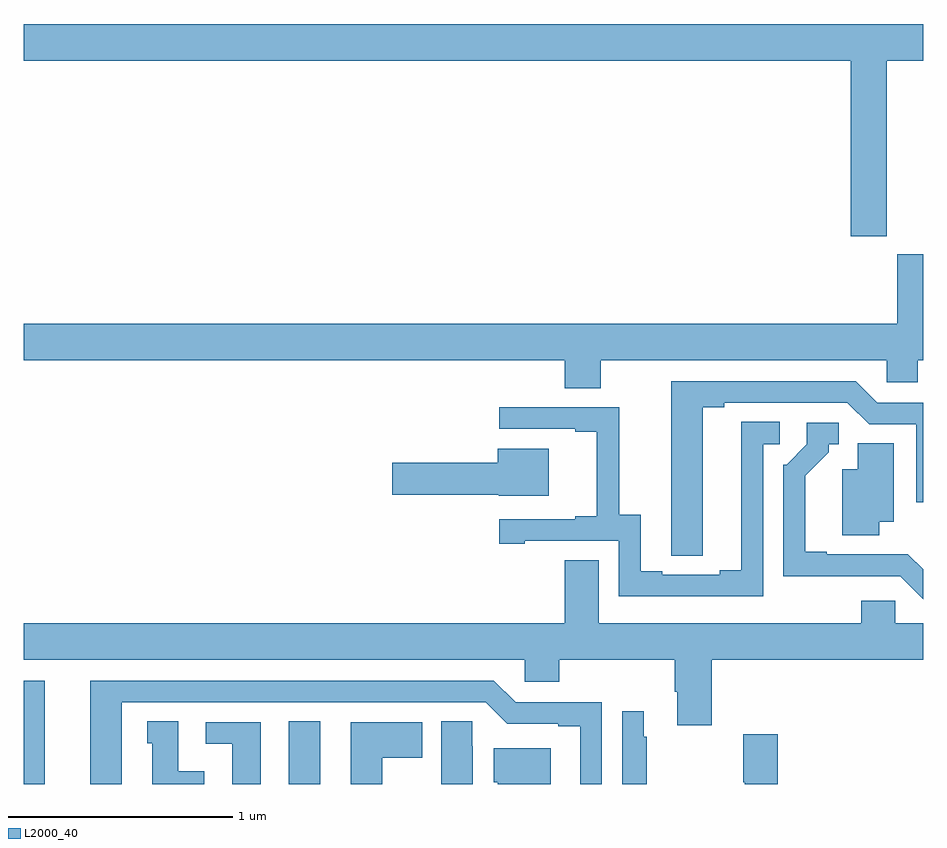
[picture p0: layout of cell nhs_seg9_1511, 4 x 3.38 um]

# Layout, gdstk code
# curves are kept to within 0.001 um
import gdstk
lib = gdstk.Library(unit=1e-6, precision=1e-09)
def R(c, l, rs):  # rectangles x0, y0, x1, y1
    for r in rs: c.add(gdstk.rectangle(r[:2], r[2:], *l))
def P(c, l, *ps):  # polygons
    for p in ps: c.add(gdstk.Polygon(p, *l))
L2000_40 = (2000, 40)

nhs_seg9_1511 = lib.new_cell('nhs_seg9_1511')
R(nhs_seg9_1511, L2000_40, [(195,1230.5,195.094,1230.96), (196.178,1230.5,196.318,1230.779)])
P(nhs_seg9_1511, L2000_40, [(198.837,1233.716),(199,1233.716),(199,1233.88),(195,1233.88),(195,1233.716),(198.677,1233.716),(198.677,1232.937),(198.837,1232.937)],
  [(197.565,1232.384),(198.837,1232.384),(198.837,1232.286),(198.975,1232.286),(198.975,1232.384),(199,1232.384),(199,1232.857),(198.884,1232.857),(198.884,1232.548),(195,1232.548),(195,1232.384),(197.405,1232.384),(197.405,1232.26),(197.565,1232.26)],
  [(198.019,1232.176),(198.115,1232.176),(198.115,1232.196),(198.663,1232.196),(198.759,1232.1),(198.969,1232.1),(198.969,1231.752),(199,1231.752),(199,1232.196),(198.795,1232.196),(198.699,1232.292),(197.879,1232.292),(197.88,1231.516),(198.019,1231.516)],
  [(198.288,1232.01),(198.361,1232.01),(198.361,1232.111),(198.191,1232.111),(198.191,1231.451),(198.095,1231.451),(198.095,1231.431),(197.839,1231.431),(197.839,1231.446),(197.743,1231.446),(197.743,1231.697),(197.649,1231.697),(197.649,1232.175),(197.115,1232.175),(197.115,1232.079),(197.453,1232.079),(197.453,1232.067),(197.549,1232.067),(197.549,1231.69),(197.453,1231.69),(197.453,1231.677),(197.115,1231.677),(197.115,1231.569),(197.227,1231.569),(197.227,1231.581),(197.646,1231.581),(197.646,1231.335),(198.288,1231.335)],
  [(199,1231.454),(198.932,1231.522),(198.571,1231.521),(198.571,1231.534),(198.475,1231.534),(198.475,1231.87),(198.58,1231.975),(198.58,1232.01),(198.625,1232.01),(198.625,1232.106),(198.483,1232.106),(198.483,1232.01),(198.393,1231.92),(198.378,1231.92),(198.378,1231.424),(198.897,1231.425),(199,1231.322)],
  [(198.805,1231.667),(198.868,1231.667),(198.868,1232.015),(198.71,1232.015),(198.71,1231.9),(198.641,1231.9),(198.641,1231.606),(198.805,1231.606)],
  [(197.335,1231.99),(197.108,1231.99),(197.108,1231.929),(196.638,1231.929),(196.638,1231.787),(197.112,1231.787),(197.112,1231.781),(197.335,1231.781)],
  [(198.059,1231.052),(199,1231.052),(199,1231.216),(198.876,1231.216),(198.876,1231.314),(198.725,1231.314),(198.725,1231.216),(197.557,1231.216),(197.557,1231.496),(197.405,1231.496),(197.405,1231.216),(195,1231.216),(195,1231.052),(197.229,1231.052),(197.229,1230.954),(197.381,1230.954),(197.381,1231.052),(197.894,1231.052),(197.894,1230.91),(197.906,1230.91),(197.906,1230.762),(198.059,1230.762)],
  [(195.436,1230.864),(197.055,1230.864),(197.151,1230.768),(197.378,1230.768),(197.378,1230.756),(197.474,1230.756),(197.474,1230.5),(197.571,1230.5),(197.571,1230.864),(197.187,1230.864),(197.091,1230.96),(195.296,1230.96),(195.296,1230.5),(195.436,1230.5)],
  [(197.77,1230.71),(197.758,1230.71),(197.758,1230.823),(197.661,1230.823),(197.661,1230.5),(197.77,1230.5)],
  [(196.996,1230.668),(196.995,1230.668),(196.995,1230.779),(196.856,1230.779),(196.856,1230.5),(196.996,1230.5)],
  [(195.802,1230.556),(195.688,1230.556),(195.688,1230.779),(195.548,1230.779),(195.548,1230.681),(195.572,1230.681),(195.572,1230.5),(195.802,1230.5)],
  [(196.594,1230.616),(196.771,1230.616),(196.771,1230.775),(196.454,1230.775),(196.454,1230.5),(196.594,1230.5)],
  [(196.054,1230.774),(195.81,1230.774),(195.81,1230.678),(195.926,1230.678),(195.926,1230.5),(196.054,1230.5)],
  [(198.353,1230.721),(198.199,1230.721),(198.199,1230.508),(198.206,1230.508),(198.206,1230.5),(198.353,1230.5)],
  [(197.344,1230.658),(197.09,1230.658),(197.09,1230.507),(197.108,1230.507),(197.108,1230.5),(197.344,1230.5)])

lib.write_gds('nhs_seg9_1511.gds')
